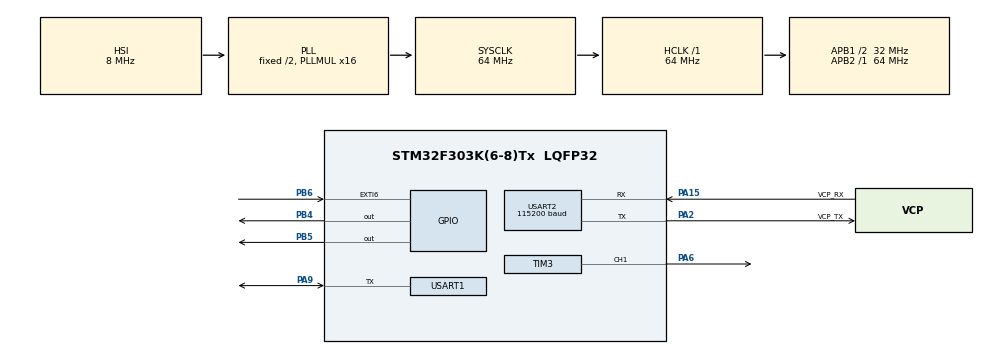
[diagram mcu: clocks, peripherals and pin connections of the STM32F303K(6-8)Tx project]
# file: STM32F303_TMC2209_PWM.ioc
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Mcu.Family=STM32F3
Mcu.Name=STM32F303K(6-8)Tx
Mcu.Package=LQFP32
NVIC.EXTI9_5_IRQn=true\:0\:0\:false\:false\:true\:true\:true\:true
NVIC.PriorityGroup=NVIC_PRIORITYGROUP_4
NVIC.TIM3_IRQn=true\:0\:0\:false\:false\:true\:true\:true\:true
NVIC.USART1_IRQn=true\:0\:0\:false\:false\:true\:true\:true\:true
NVIC.USART2_IRQn=true\:0\:0\:false\:false\:true\:true\:true\:true
PA13.GPIO_Label=SWDIO
PA13.Mode=Serial_Wire
PA13.Signal=SYS_JTMS-SWDIO
PA14.GPIO_Label=SWCLK
PA14.Mode=Serial_Wire
PA14.Signal=SYS_JTCK-SWCLK
PA15.GPIO_Label=VCP_RX
PA15.Mode=Asynchronous
PA15.Signal=USART2_RX
PA2.GPIO_Label=VCP_TX
PA2.Mode=Asynchronous
PA2.Signal=USART2_TX
PA6.Signal=S_TIM3_CH1
PA9.Mode=Half_duplex(single_wire_mode)
PA9.Signal=USART1_TX
PB4.Signal=GPIO_Output
PB5.Signal=GPIO_Output
PB6.GPIO_ModeDefaultEXTI=GPIO_MODE_IT_RISING_FALLING
PB6.Signal=GPXTI6
PF0\ /\ OSC_IN.GPIO_Label=MCO
PF0\ /\ OSC_IN.Signal=RCC_OSC_IN
ProjectManager.HeapSize=0x200
ProjectManager.StackSize=0x400
ProjectManager.TargetToolchain=STM32CubeIDE
RCC.AHBFreq_Value=64000000
RCC.APB1CLKDivider=RCC_HCLK_DIV2
RCC.APB1Freq_Value=32000000
RCC.APB1TimFreq_Value=64000000
RCC.APB2Freq_Value=64000000
RCC.APB2TimFreq_Value=64000000
RCC.CortexFreq_Value=64000000
RCC.HCLKFreq_Value=64000000
RCC.HSE_VALUE=8000000
RCC.HSI_VALUE=8000000
RCC.PLLMUL=RCC_PLL_MUL16
RCC.SYSCLKFreq_VALUE=64000000
RCC.SYSCLKSourceVirtual=RCC_SYSCLKSOURCE_PLLCLK
SH.S_TIM3_CH1.0=TIM3_CH1,PWM Generation1 CH1
TIM3.Channel-PWM\ Generation1\ CH1=TIM_CHANNEL_1
TIM3.Prescaler=128-1
USART1.BaudRate=115200
USART1.VirtualMode-Half_duplex(single_wire_mode)=VM_ASYNC
USART2.BaudRate=115200
USART2.VirtualMode-Asynchronous=VM_ASYNC
VP_TIM3_VS_ClockSourceINT.Mode=Internal
board=NUCLEO-F303K8

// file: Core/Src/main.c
/* USER CODE BEGIN Header */
/**
  ******************************************************************************
  * @file           : main.c
  * @brief          : Main program body
  ******************************************************************************
  * @attention
  *
  * Copyright (c) 2022 STMicroelectronics.
  * All rights reserved.
  *
  * This software is licensed under terms that can be found in the LICENSE file
  * in the root directory of this software component.
  * If no LICENSE file comes with this software, it is provided AS-IS.
  *
  ******************************************************************************
  */
/* USER CODE END Header */
#include "main.h"

/* USER CODE BEGIN Includes */
#include <stdio.h>
#include "tmc/ic/TMC2209/TMC2209.h"
#include <math.h>

/* USER CODE END Includes */

/* USER CODE BEGIN PD */
#define TMC2209_CRC(data, length) tmc_CRC8(data, length, 1)
/* USER CODE END PD */

 TIM_HandleTypeDef htim3;

UART_HandleTypeDef huart1;
UART_HandleTypeDef huart2;

/* USER CODE BEGIN PV */
//static TMC2209TypeDef TMC2209; //TMC2209の設定などの定義
//static ConfigurationTypeDef *TMC2209_config; //TMC2209の設定
TMC2209TypeDef TMC2209; //TMC2209の設定などの定義
ConfigurationTypeDef TMC2209_config; //TMC2209の設定
uint8_t end_stop_state = 0;
/* USER CODE END PV */

void SystemClock_Config(void);
static void MX_GPIO_Init(void);
static void MX_USART2_UART_Init(void);
static void MX_USART1_UART_Init(void);
static void MX_TIM3_Init(void);
/* USER CODE BEGIN PFP */
static void periodicJob(uint32_t tick);
static uint8_t reset(void);
static uint8_t restore(void);
//static TMC2209TypeDef TMC2209;

/* USER CODE END PFP */

/* USER CODE BEGIN 0 */

/*void HAL_TIM_PeriodElapsedCallback(TIM_HandleTypeDef *htim)
{
    if (htim == &htim3){ //htim3に設定したタイマー割り込みの時間で発火する
        HAL_GPIO_TogglePin(GPIOB, GPIO_PIN_5);//ピンの出力を切り替え
    }
}*/
void tmc2209_readWriteArray(uint8_t channel, uint8_t *data, size_t writeLength, size_t readLength)
{
	//set your uart read write
	//UART_readWrite(channelToUART(channel), data, writeLength, readLength);
	HAL_HalfDuplex_EnableTransmitter(&huart1);
	HAL_UART_Transmit(&huart1, data, writeLength,3000);

	if(readLength > 0){
		HAL_HalfDuplex_EnableReceiver(&huart1);
		HAL_UART_Receive(&huart1, data, readLength, 3000);
	}
}

uint8_t tmc2209_CRC8(uint8_t *data, size_t length)
{
	return TMC2209_CRC(data, length);
}

static void periodicJob(uint32_t tick)
{

	tmc2209_periodicJob(&TMC2209, tick);

	//StepDir_periodicJob(0);
}

static uint8_t reset()
{
	//StepDir_init(STEPDIR_PRECISION);
	//StepDir_setPins(0, Pins.STEP, Pins.DIR, Pins.DIAG);

	return tmc2209_reset(&TMC2209);
}

static uint8_t restore()
{
	return tmc2209_restore(&TMC2209);
}

void TMC2209_INIT()
{
	tmc_fillCRC8Table(0x07, true, 1);

	TMC2209_config.reset = reset;
	TMC2209_config.restore = restore;
	tmc2209_init(&TMC2209, 0, 0, &TMC2209_config, &tmc2209_defaultRegisterResetState[0]);

	//restore();
}

static inline TMC2209TypeDef *motorToIC(uint8_t motor)
{
	UNUSED(motor);

	return &TMC2209;
}

/* USER CODE END 0 */

int main(void)
{
  /* USER CODE BEGIN 1 */
	setbuf(stdout, NULL);

  /* USER CODE END 1 */

  /* MCU Configuration--------------------------------------------------------*/

  /* Reset of all peripherals, Initializes the Flash interface and the Systick. */
  HAL_Init();

  /* Configure the system clock */
  SystemClock_Config();

  /* Initialize all configured peripherals */
  MX_GPIO_Init();
  MX_USART2_UART_Init();
  MX_USART1_UART_Init();
  MX_TIM3_Init();
  /* USER CODE BEGIN 2 */
  //int getserial=0;
  TMC2209_INIT();
  printf("Hello\r\n");

  int i;
   char rxbuf[1];
   char start[] ="1:front,2:back\r\n";
   char front[] ="front turn\r\n";
   char back[] ="back turn\r\n";
   char nonans[] ="Not Understand \r\n";
   int32_t mstep_value = 0;
   int32_t toff_value = 0;
   int32_t microstep_value = 0;
   int32_t stanby_value = 0;
   int32_t max_value = 0;

   HAL_UART_Transmit(&huart2,(uint8_t *)start,sizeof(start),3000);

   mstep_value = TMC2209_FIELD_READ(&TMC2209, TMC2209_GCONF, TMC2209_MSTEP_REG_SELECT_MASK,TMC2209_MSTEP_REG_SELECT_SHIFT);	//uartでのmicrostepの有効化
   printf("mstep_before : %ld\r\n", mstep_value);
   mstep_value = 1;
   TMC2209_FIELD_UPDATE(&TMC2209, TMC2209_GCONF, TMC2209_MSTEP_REG_SELECT_MASK, TMC2209_MSTEP_REG_SELECT_SHIFT,mstep_value);
   tmc2209_periodicJob(&TMC2209, HAL_GetTick());
   mstep_value=TMC2209_FIELD_READ(&TMC2209, TMC2209_GCONF, TMC2209_MSTEP_REG_SELECT_MASK, TMC2209_MSTEP_REG_SELECT_SHIFT);
   printf("mstep_after : %ld\r\n", mstep_value);

   toff_value=TMC2209_FIELD_READ(&TMC2209, TMC2209_CHOPCONF, TMC2209_TOFF_MASK, TMC2209_TOFF_SHIFT);	//保持トルクの設定
   printf("toff_before : %ld\r\n", toff_value);
   toff_value = 3;
   TMC2209_FIELD_UPDATE(&TMC2209, TMC2209_CHOPCONF, TMC2209_TOFF_MASK, TMC2209_TOFF_SHIFT,toff_value);
   tmc2209_periodicJob(&TMC2209, HAL_GetTick());
   toff_value=TMC2209_FIELD_READ(&TMC2209, TMC2209_CHOPCONF, TMC2209_TOFF_MASK, TMC2209_TOFF_SHIFT);
   printf("toff_after : %ld\r\n", toff_value);

   microstep_value = 256 >> TMC2209_FIELD_READ(&TMC2209, TMC2209_CHOPCONF, TMC2209_MRES_MASK, TMC2209_MRES_SHIFT);	//microstepの設定
   printf("microstep_before : %ld\r\n", microstep_value);
   microstep_value = 4;
   TMC2209_FIELD_UPDATE(&TMC2209, TMC2209_CHOPCONF, TMC2209_MRES_MASK, TMC2209_MRES_SHIFT,microstep_value);
   tmc2209_periodicJob(&TMC2209, HAL_GetTick());
   microstep_value = 256 >> TMC2209_FIELD_READ(&TMC2209, TMC2209_CHOPCONF, TMC2209_MRES_MASK, TMC2209_MRES_SHIFT);
   printf("microstep_after : %ld\r\n", microstep_value);

   stanby_value=TMC2209_FIELD_READ(&TMC2209,TMC2209_IHOLD_IRUN, TMC2209_IHOLD_MASK, TMC2209_IHOLD_SHIFT);	//待機電流の設定
   printf("stanbycurrent_before: %ld\r\n", stanby_value);
   stanby_value = 10;
   TMC2209_FIELD_UPDATE(&TMC2209,TMC2209_IHOLD_IRUN, TMC2209_IHOLD_MASK, TMC2209_IHOLD_SHIFT, stanby_value);
   tmc2209_periodicJob(&TMC2209, HAL_GetTick());
   HAL_Delay(200);
   stanby_value=TMC2209_FIELD_READ(&TMC2209,TMC2209_IHOLD_IRUN, TMC2209_IHOLD_MASK, TMC2209_IHOLD_SHIFT);
   printf("stanbycurrent_after: %ld\r\n", stanby_value);

   max_value=TMC2209_FIELD_READ(&TMC2209, TMC2209_IHOLD_IRUN, TMC2209_IRUN_MASK, TMC2209_IRUN_SHIFT);	//最大電流の設定
   printf("maxumum_before: %ld\r\n", max_value);
   max_value = 10;
   TMC2209_FIELD_UPDATE(&TMC2209, TMC2209_IHOLD_IRUN, TMC2209_IRUN_MASK, TMC2209_IRUN_SHIFT, max_value);
   tmc2209_periodicJob(&TMC2209, HAL_GetTick());
   HAL_Delay(200);
   max_value=TMC2209_FIELD_READ(&TMC2209, TMC2209_IHOLD_IRUN, TMC2209_IRUN_MASK, TMC2209_IRUN_SHIFT);
   printf("maxumum_after: %ld\r\n", max_value);

   HAL_UART_Transmit(&huart2,(uint8_t *)start,sizeof(start),3000);

  //printf("Start \r\n");

  //uint8_t rxbuf[1];
   //int32_t *value=3;

   //TMC2209_FIELD_UPDATE(&TMC2209, TMC2209_CHOPCONF, TMC2209_MRES_MASK, TMC2209_MRES_SHIFT, 3 );

  /* USER CODE END 2 */

  /* Infinite loop */
  while (1)
  {

    /* USER CODE BEGIN 3 */
	__HAL_TIM_SET_COMPARE(&htim3, TIM_CHANNEL_1, 50000);

	HAL_Delay(100);
	__HAL_TIM_SET_COMPARE(&htim3, TIM_CHANNEL_1, 5000);
	HAL_Delay(100);
	__HAL_TIM_SET_COMPARE(&htim3, TIM_CHANNEL_1, 500);
	HAL_Delay(100);

  }

  /* USER CODE END 3 */
}

void SystemClock_Config(void)
{
  RCC_OscInitTypeDef RCC_OscInitStruct = {0};
  RCC_ClkInitTypeDef RCC_ClkInitStruct = {0};
  RCC_PeriphCLKInitTypeDef PeriphClkInit = {0};

  /** Initializes the RCC Oscillators according to the specified parameters
  * in the RCC_OscInitTypeDef structure.
  */
  RCC_OscInitStruct.OscillatorType = RCC_OSCILLATORTYPE_HSI;
  RCC_OscInitStruct.HSIState = RCC_HSI_ON;
  RCC_OscInitStruct.HSICalibrationValue = RCC_HSICALIBRATION_DEFAULT;
  RCC_OscInitStruct.PLL.PLLState = RCC_PLL_ON;
  RCC_OscInitStruct.PLL.PLLSource = RCC_PLLSOURCE_HSI;
  RCC_OscInitStruct.PLL.PLLMUL = RCC_PLL_MUL16;
  if (HAL_RCC_OscConfig(&RCC_OscInitStruct) != HAL_OK)
  {
    Error_Handler();
  }

  /** Initializes the CPU, AHB and APB buses clocks
  */
  RCC_ClkInitStruct.ClockType = RCC_CLOCKTYPE_HCLK|RCC_CLOCKTYPE_SYSCLK
                              |RCC_CLOCKTYPE_PCLK1|RCC_CLOCKTYPE_PCLK2;
  RCC_ClkInitStruct.SYSCLKSource = RCC_SYSCLKSOURCE_PLLCLK;
  RCC_ClkInitStruct.AHBCLKDivider = RCC_SYSCLK_DIV1;
  RCC_ClkInitStruct.APB1CLKDivider = RCC_HCLK_DIV2;
  RCC_ClkInitStruct.APB2CLKDivider = RCC_HCLK_DIV1;

  if (HAL_RCC_ClockConfig(&RCC_ClkInitStruct, FLASH_LATENCY_2) != HAL_OK)
  {
    Error_Handler();
  }
  PeriphClkInit.PeriphClockSelection = RCC_PERIPHCLK_USART1;
  PeriphClkInit.Usart1ClockSelection = RCC_USART1CLKSOURCE_PCLK1;
  if (HAL_RCCEx_PeriphCLKConfig(&PeriphClkInit) != HAL_OK)
  {
    Error_Handler();
  }
}

static void MX_TIM3_Init(void)
{

  TIM_ClockConfigTypeDef sClockSourceConfig = {0};
  TIM_MasterConfigTypeDef sMasterConfig = {0};
  TIM_OC_InitTypeDef sConfigOC = {0};

  htim3.Instance = TIM3;
  htim3.Init.Prescaler = 128-1;
  htim3.Init.CounterMode = TIM_COUNTERMODE_UP;
  htim3.Init.Period = 65535;
  htim3.Init.ClockDivision = TIM_CLOCKDIVISION_DIV1;
  htim3.Init.AutoReloadPreload = TIM_AUTORELOAD_PRELOAD_DISABLE;
  if (HAL_TIM_Base_Init(&htim3) != HAL_OK)
  {
    Error_Handler();
  }
  sClockSourceConfig.ClockSource = TIM_CLOCKSOURCE_INTERNAL;
  if (HAL_TIM_ConfigClockSource(&htim3, &sClockSourceConfig) != HAL_OK)
  {
    Error_Handler();
  }
  if (HAL_TIM_PWM_Init(&htim3) != HAL_OK)
  {
    Error_Handler();
  }
  sMasterConfig.MasterOutputTrigger = TIM_TRGO_RESET;
  sMasterConfig.MasterSlaveMode = TIM_MASTERSLAVEMODE_DISABLE;
  if (HAL_TIMEx_MasterConfigSynchronization(&htim3, &sMasterConfig) != HAL_OK)
  {
    Error_Handler();
  }
  sConfigOC.OCMode = TIM_OCMODE_PWM1;
  sConfigOC.Pulse = 0;
  sConfigOC.OCPolarity = TIM_OCPOLARITY_HIGH;
  sConfigOC.OCFastMode = TIM_OCFAST_DISABLE;
  if (HAL_TIM_PWM_ConfigChannel(&htim3, &sConfigOC, TIM_CHANNEL_1) != HAL_OK)
  {
    Error_Handler();
  }
  HAL_TIM_MspPostInit(&htim3);

}

static void MX_USART1_UART_Init(void)
{

  huart1.Instance = USART1;
  huart1.Init.BaudRate = 115200;
  huart1.Init.WordLength = UART_WORDLENGTH_8B;
  huart1.Init.StopBits = UART_STOPBITS_1;
  huart1.Init.Parity = UART_PARITY_NONE;
  huart1.Init.Mode = UART_MODE_TX_RX;
  huart1.Init.HwFlowCtl = UART_HWCONTROL_NONE;
  huart1.Init.OverSampling = UART_OVERSAMPLING_16;
  huart1.Init.OneBitSampling = UART_ONE_BIT_SAMPLE_DISABLE;
  huart1.AdvancedInit.AdvFeatureInit = UART_ADVFEATURE_NO_INIT;
  if (HAL_HalfDuplex_Init(&huart1) != HAL_OK)
  {
    Error_Handler();
  }

}

static void MX_USART2_UART_Init(void)
{

  huart2.Instance = USART2;
  huart2.Init.BaudRate = 115200;
  huart2.Init.WordLength = UART_WORDLENGTH_8B;
  huart2.Init.StopBits = UART_STOPBITS_1;
  huart2.Init.Parity = UART_PARITY_NONE;
  huart2.Init.Mode = UART_MODE_TX_RX;
  huart2.Init.HwFlowCtl = UART_HWCONTROL_NONE;
  huart2.Init.OverSampling = UART_OVERSAMPLING_16;
  huart2.Init.OneBitSampling = UART_ONE_BIT_SAMPLE_DISABLE;
  huart2.AdvancedInit.AdvFeatureInit = UART_ADVFEATURE_NO_INIT;
  if (HAL_UART_Init(&huart2) != HAL_OK)
  {
    Error_Handler();
  }

}

static void MX_GPIO_Init(void)
{
  GPIO_InitTypeDef GPIO_InitStruct = {0};

  /* GPIO Ports Clock Enable */
  __HAL_RCC_GPIOF_CLK_ENABLE();
  __HAL_RCC_GPIOA_CLK_ENABLE();
  __HAL_RCC_GPIOB_CLK_ENABLE();

  /*Configure GPIO pin Output Level */
  HAL_GPIO_WritePin(GPIOB, GPIO_PIN_4|GPIO_PIN_5, GPIO_PIN_RESET);

  /*Configure GPIO pins : PB4 PB5 */
  GPIO_InitStruct.Pin = GPIO_PIN_4|GPIO_PIN_5;
  GPIO_InitStruct.Mode = GPIO_MODE_OUTPUT_PP;
  GPIO_InitStruct.Pull = GPIO_NOPULL;
  GPIO_InitStruct.Speed = GPIO_SPEED_FREQ_LOW;
  HAL_GPIO_Init(GPIOB, &GPIO_InitStruct);

  /*Configure GPIO pin : PB6 */
  GPIO_InitStruct.Pin = GPIO_PIN_6;
  GPIO_InitStruct.Mode = GPIO_MODE_IT_RISING_FALLING;
  GPIO_InitStruct.Pull = GPIO_NOPULL;
  HAL_GPIO_Init(GPIOB, &GPIO_InitStruct);

  /* EXTI interrupt init*/
  HAL_NVIC_SetPriority(EXTI9_5_IRQn, 0, 0);
  HAL_NVIC_EnableIRQ(EXTI9_5_IRQn);

}

/* USER CODE BEGIN 4 */
int _write(int file, char *ptr, int len)
{
  HAL_UART_Transmit(&huart2,(uint8_t *)ptr,len,10);
  return len;
}

//int _write(int file, char *ptr, int len)
//{
//  int DataIdx;
//  for(DataIdx=0; DataIdx<len; DataIdx++)
//  {
//    ITM_SendChar(*ptr++);
//  }
//  return len;
//}

/* USER CODE END 4 */

void Error_Handler(void)
{
  __disable_irq();
  while (1)
  {
  }
}
